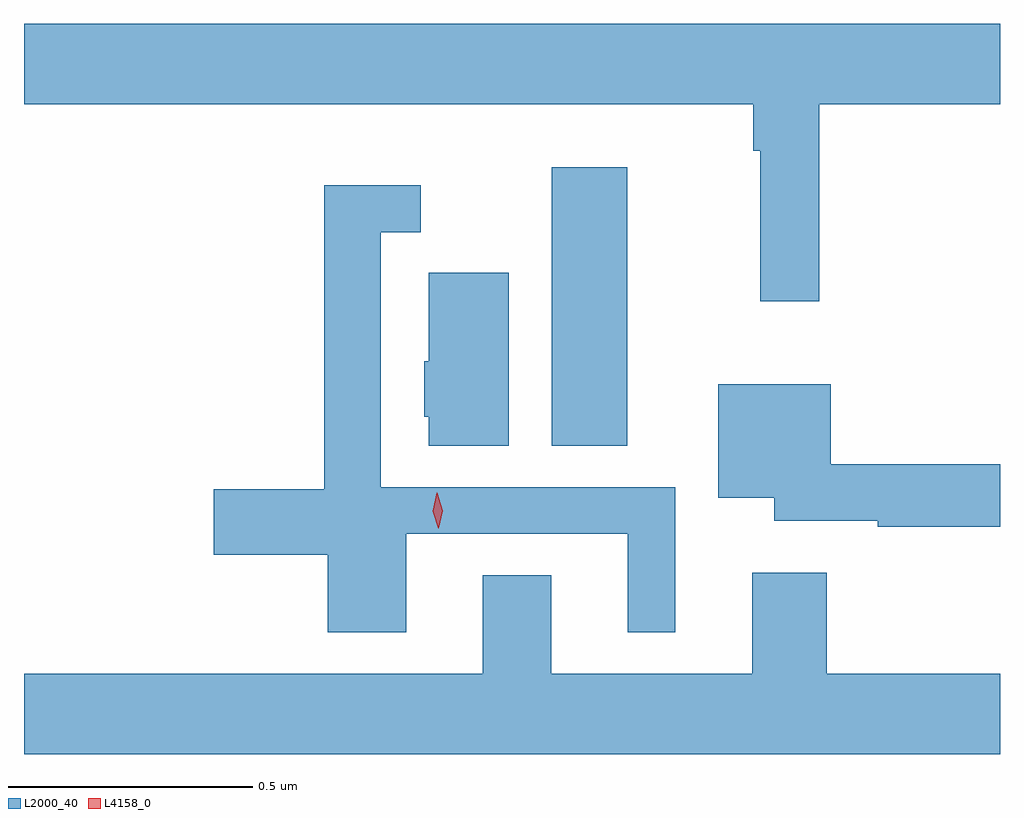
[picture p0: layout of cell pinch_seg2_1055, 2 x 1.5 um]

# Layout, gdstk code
import gdstk
lib = gdstk.Library(unit=1e-6, precision=1e-09)
def R(c, l, rs):  # rectangles x0, y0, x1, y1
    for r in rs: c.add(gdstk.rectangle(r[:2], r[2:], *l))
def P(c, l, *ps):  # polygons
    for p in ps: c.add(gdstk.Polygon(p, *l))
L2000_40 = (2000, 40)
L4158_0 = (4158, 0)

pinch_seg2_1055 = lib.new_cell('pinch_seg2_1055')
R(pinch_seg2_1055, L2000_40, [(337.856,606.976,338.011,607.546)])
P(pinch_seg2_1055, L2000_40, [(338.405,607.676),(338.775,607.676),(338.775,607.84),(336.775,607.84),(336.775,607.676),(338.269,607.676),(338.269,607.58),(338.284,607.58),(338.284,607.272),(338.405,607.272)],
  [(337.558,606.795),(338.012,606.795),(338.012,606.594),(338.11,606.594),(338.11,606.891),(337.506,606.891),(337.506,607.413),(337.588,607.413),(337.588,607.51),(337.39,607.51),(337.39,606.887),(337.164,606.887),(337.164,606.752),(337.397,606.752),(337.397,606.594),(337.558,606.594)],
  [(337.768,607.33),(337.604,607.33),(337.604,607.149),(337.595,607.149),(337.595,607.035),(337.604,607.035),(337.604,606.976),(337.768,606.976)],
  [(338.775,606.938),(338.428,606.938),(338.428,607.102),(338.198,607.102),(338.198,606.869),(338.312,606.869),(338.312,606.822),(338.524,606.822),(338.524,606.81),(338.775,606.81)],
  [(338.775,606.508),(338.42,606.508),(338.42,606.715),(338.267,606.715),(338.267,606.508),(337.855,606.508),(337.855,606.71),(337.715,606.71),(337.715,606.508),(336.775,606.508),(336.775,606.344),(338.775,606.344)])
P(pinch_seg2_1055, L4158_0, [(337.624,606.807),(337.613,606.842),(337.621,606.879),(337.622,606.879),(337.622,606.879),(337.633,606.843),(337.625,606.807),(337.625,606.807)])

lib.write_gds('pinch_seg2_1055.gds')
